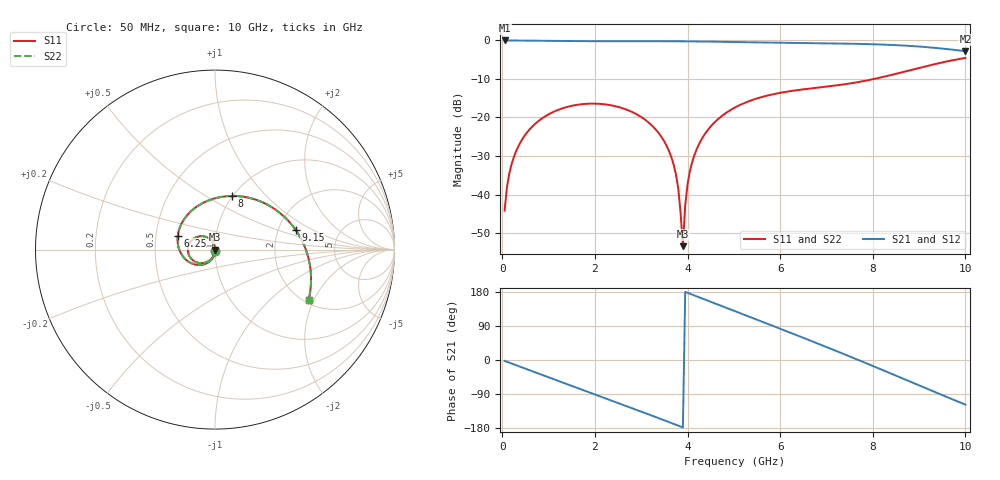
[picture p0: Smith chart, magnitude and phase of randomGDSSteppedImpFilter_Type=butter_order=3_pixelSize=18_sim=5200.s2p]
! freq	dB(S11)	phase(S11)	dB(S12)	phase(S12)
!  dB(S21)	phase(S21)	dB(S22)	phase(S22)
!S-par simulation data
#  GHz  S  DB  R 50
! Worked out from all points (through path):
!   200 points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, 50 MHz to 10 GHz, reference 50 ohm
!   highest |S21| = -0.01 dB at 50 MHz (marker M1); lowest = -2.8 dB at 10 GHz (marker M2)
!   group delay of S21, straight-line fit = 132 ps
!   lowest |S11| = -53.4 dB at 3.9 GHz (marker M3), VSWR 1.00, Z = 50.2 - j0.0804 ohm
!   |S11| at or under -10 dB: start of sweep to 8.029 GHz
!   |S22| runs from -55.6 to -4.6 dB; largest |S21 - S12| = 0
!   S11 on the Smith chart (normalised r, x): 50 MHz: 1.00, -0.01; 6.25 GHz: 0.65, +0.10; 8 GHz: 0.99, +0.66; 9.15 GHz: 2.49, +0.70; 10 GHz: 2.11, -1.82
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0.05  -44.17 -91.9  -0.01 -2.4  -0.01 -2.4  -44.17 -91.9
0.2  -32.17 -99.3  -0.02 -9.2  -0.02 -9.2  -32.17 -99.3
0.5  -24.43 -113.4  -0.05 -22.9  -0.05 -22.9  -24.43 -113.4
1.75  -16.51 -170.4  -0.19 -79.4  -0.19 -79.4  -16.51 -170.3
2.55  -17.42 153.3  -0.21 -115.4  -0.21 -115.4  -17.42 153.6
3.4  -24.41 113.5  -0.21 -154.5  -0.21 -154.5  -24.41 114.3
3.75  -34.77 94.0  -0.22 -170.9  -0.22 -170.9  -34.80 96.9
3.85  -44.74 79.1  -0.23 -175.6  -0.23 -175.6  -45.00 88.8
3.9  -53.41 -22.0  -0.23 -178.0  -0.23 -178.0  -55.59 -36.2
3.95  -42.78 -78.9  -0.24 179.7  -0.24 179.7  -42.93 -87.0
4  -37.35 -87.1  -0.24 177.3  -0.24 177.3  -37.39 -91.3
4.15  -29.71 -97.8  -0.26 170.3  -0.26 170.3  -29.72 -99.6
4.5  -22.34 -115.8  -0.31 153.7  -0.31 153.7  -22.34 -116.6
5.05  -17.25 -142.4  -0.41 127.7  -0.41 127.7  -17.25 -142.8
5.65  -14.54 -171.1  -0.54 99.2  -0.54 99.2  -14.54 -171.4
6.25  -13.11 159.9  -0.64 70.6  -0.64 70.6  -13.11 159.7
6.7  -12.41 137.8  -0.71 48.9  -0.71 48.9  -12.41 137.6
7.35  -11.45 105.4  -0.82 17.0  -0.82 17.0  -11.45 105.2
8  -10.07 72.5  -0.99 -15.7  -0.99 -15.7  -10.07 72.4
8.35  -9.11 54.6  -1.14 -33.6  -1.14 -33.6  -9.11 54.5
9.15  -6.70 13.8  -1.72 -74.9  -1.72 -74.9  -6.70 13.8
10  -4.55 -28.3  -2.79 -117.6  -2.79 -117.6  -4.55 -28.3
